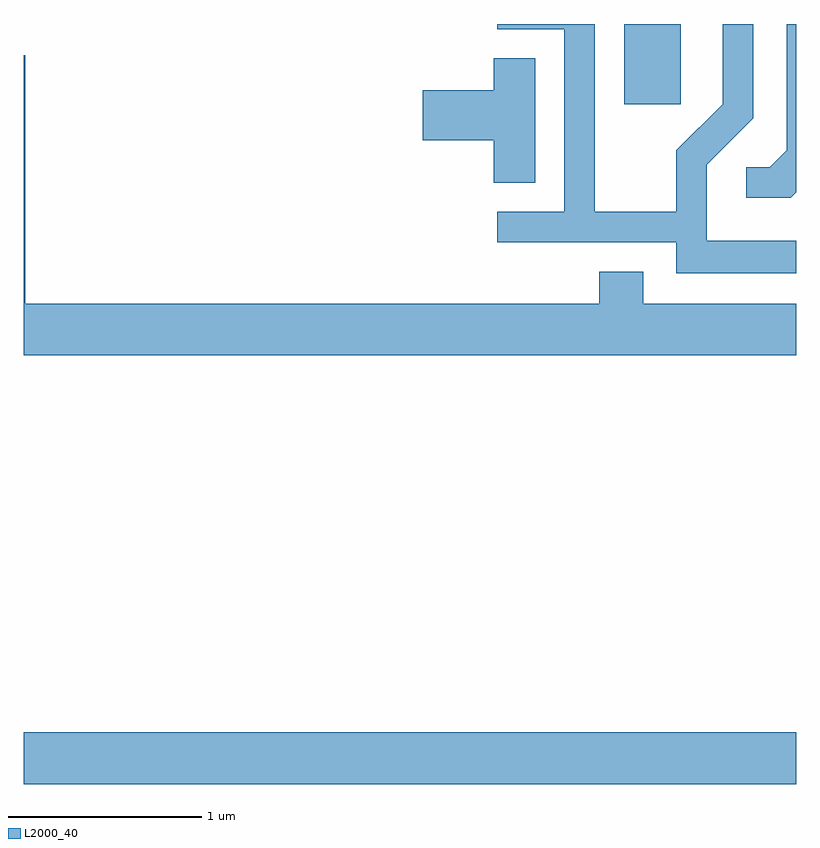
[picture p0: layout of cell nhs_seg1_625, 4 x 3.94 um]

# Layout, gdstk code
import gdstk
lib = gdstk.Library(unit=1e-6, precision=1e-09)
def R(c, l, rs):  # rectangles x0, y0, x1, y1
    for r in rs: c.add(gdstk.rectangle(r[:2], r[2:], *l))
def P(c, l, *ps):  # polygons
    for p in ps: c.add(gdstk.Polygon(p, *l))
L2000_40 = (2000, 40)

nhs_seg1_625 = lib.new_cell('nhs_seg1_625')
R(nhs_seg1_625, L2000_40, [(203.611,921.776,207.611,922.044), (206.721,925.296,207.014,925.712)])
P(nhs_seg1_625, L2000_40, [(207.611,924.84),(207.611,925.712),(207.561,925.712),(207.561,925.057),(207.474,924.969),(207.353,924.969),(207.353,924.811),(207.582,924.811)],
  [(207.611,924.589),(207.149,924.589),(207.149,924.984),(207.389,925.224),(207.389,925.712),(207.231,925.712),(207.231,925.297),(206.991,925.057),(206.991,924.739),(206.569,924.739),(206.569,925.712),(206.063,925.712),(206.063,925.686),(206.411,925.686),(206.411,924.739),(206.063,924.739),(206.063,924.581),(206.991,924.581),(206.991,924.421),(207.611,924.421)],
  [(207.611,924.264),(206.819,924.264),(206.819,924.429),(206.591,924.429),(206.591,924.264),(203.619,924.264),(203.619,925.549),(203.611,925.549),(203.611,923.996),(207.611,923.996)],
  [(206.259,925.534),(206.046,925.534),(206.046,925.369),(205.676,925.369),(205.676,925.111),(206.046,925.111),(206.046,924.891),(206.259,924.891)])

lib.write_gds('nhs_seg1_625.gds')
